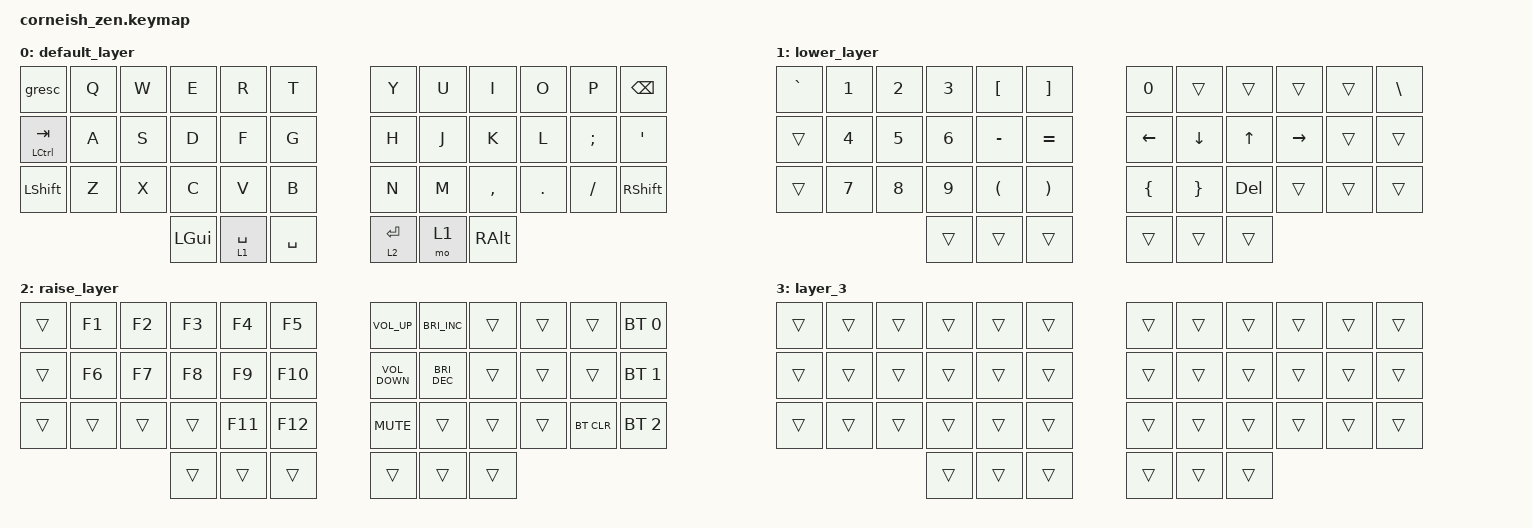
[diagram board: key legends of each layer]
/*
 * Copyright (c) 2020 The ZMK Contributors
 *
 * SPDX-License-Identifier: MIT
 */

#include <behaviors.dtsi>
#include <dt-bindings/zmk/bt.h>
#include <dt-bindings/zmk/ext_power.h>
#include <dt-bindings/zmk/keys.h>
#include <dt-bindings/zmk/outputs.h>
#include <dt-bindings/zmk/rgb.h>

/ {
    chosen {
        zmk,matrix_transform = &default_transform;

        // zmk,matrix_transform = &five_column_transform;
    };
};

/ {
    keymap {
        compatible = "zmk,keymap";

        default_layer {
            // -----------------------------------------------------------------------------------------
            // |  TAB |  Q  |  W  |  E  |  R  |  T  |   |  Y  |  U   |  I  |  O  |  P  | BKSP |
            // | CTRL |  A  |  S  |  D  |  F  |  G  |   |  H  |  J   |  K  |  L  |  ;  |  '   |
            // | SHFT |  Z  |  X  |  C  |  V  |  B  |   |  N  |  M   |  ,  |  .  |  /  | ESC  |
            //                    | GUI | LWR | SPC |   | ENT | RSE  | ALT |

            bindings = <
&gresc         &kp Q  &kp W  &kp E     &kp R        &kp T        &kp Y        &kp U  &kp I      &kp O    &kp P     &kp BSPC
&mt LCTRL TAB  &kp A  &kp S  &kp D     &kp F        &kp G        &kp H        &kp J  &kp K      &kp L    &kp SEMI  &kp SQT
&kp LSHFT      &kp Z  &kp X  &kp C     &kp V        &kp B        &kp N        &kp M  &kp COMMA  &kp DOT  &kp FSLH  &kp RIGHT_SHIFT
                            &kp LGUI  &lt 1 SPACE  &kp SPACE    &lt 2 ENTER  &mo 1  &kp RALT
            >;
        };

        lower_layer {
            // -----------------------------------------------------------------------------------------
            // |  TAB |  1  |  2  |  3  |  4  |  5  |   |  6  |  7  |  8  |  9  |  0  | BKSP |
            // | BTCLR| BT1 | BT2 | BT3 | BT4 | BT5 |   | LFT | DWN |  UP | RGT |     |      |
            // | SHFT |     |     |     |     |     |   |     |     |     |     |     |      |
            //                    | GUI |     | SPC |   | ENT |     | ALT |

            bindings = <
&kp GRAVE  &kp N1  &kp N2  &kp N3  &kp LEFT_BRACKET      &kp RIGHT_BRACKET        &kp N0    &trans    &trans      &trans     &trans  &kp BACKSLASH
&trans     &kp N4  &kp N5  &kp N6  &kp MINUS             &kp EQUAL                &kp LEFT  &kp DOWN  &kp UP      &kp RIGHT  &trans  &trans
&trans     &kp N7  &kp N8  &kp N9  &kp LEFT_PARENTHESIS  &kp RIGHT_PARENTHESIS    &kp LBRC  &kp RBRC  &kp DELETE  &trans     &trans  &trans
                           &trans  &trans                &trans                   &trans    &trans    &trans
            >;
        };

        raise_layer {
            // -----------------------------------------------------------------------------------------
            // |  TAB |  !  |  @  |  #  |  $  |  %  |   |  ^  |  &  |  *  |  (  |  )  | BKSP |
            // | CTRL |     |     |     |     |     |   |  -  |  =  |  [  |  ]  |  \  |  `   |
            // | SHFT |     |     |     |     |     |   |  _  |  +  |  {  |  }  | "|" |  ~   |
            //                    | GUI |     | SPC |   | ENT |     | ALT |

            bindings = <
&trans  &kp F1  &kp F2  &kp F3  &kp F4   &kp F5     &kp C_VOLUME_UP    &kp C_BRIGHTNESS_INC  &trans  &trans  &trans      &bt BT_SEL 0
&trans  &kp F6  &kp F7  &kp F8  &kp F9   &kp F10    &kp C_VOLUME_DOWN  &kp C_BRIGHTNESS_DEC  &trans  &trans  &trans      &bt BT_SEL 1
&trans  &trans  &trans  &trans  &kp F11  &kp F12    &kp K_MUTE         &trans                &trans  &trans  &bt BT_CLR  &bt BT_SEL 2
                        &trans  &trans   &trans     &trans             &trans                &trans
            >;
        };

        layer_3 {
            bindings = <
&trans  &trans  &trans  &trans  &trans  &trans    &trans  &trans  &trans  &trans  &trans  &trans
&trans  &trans  &trans  &trans  &trans  &trans    &trans  &trans  &trans  &trans  &trans  &trans
&trans  &trans  &trans  &trans  &trans  &trans    &trans  &trans  &trans  &trans  &trans  &trans
                        &trans  &trans  &trans    &trans  &trans  &trans
            >;
        };
    };
};
